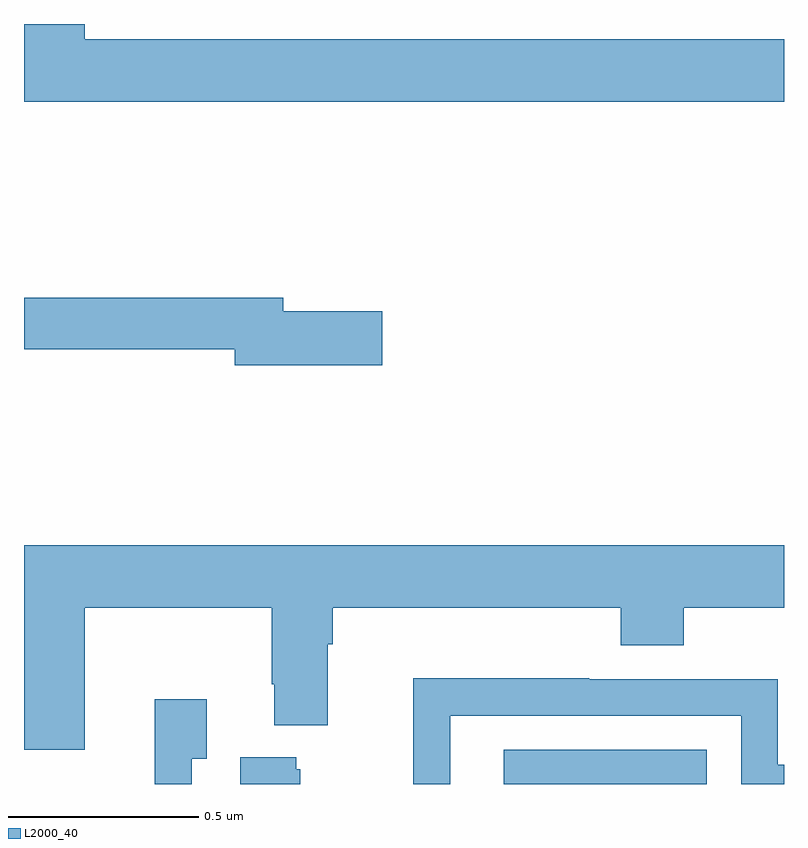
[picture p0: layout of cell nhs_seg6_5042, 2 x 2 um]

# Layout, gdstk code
import gdstk
lib = gdstk.Library(unit=1e-6, precision=1e-09)
def R(c, l, rs):  # rectangles x0, y0, x1, y1
    for r in rs: c.add(gdstk.rectangle(r[:2], r[2:], *l))
def P(c, l, *ps):  # polygons
    for p in ps: c.add(gdstk.Polygon(p, *l))
L2000_40 = (2000, 40)

nhs_seg6_5042 = lib.new_cell('nhs_seg6_5042')
R(nhs_seg6_5042, L2000_40, [(178.263,985.5,178.797,985.59)])
P(nhs_seg6_5042, L2000_40, [(179,987.46),(177.16,987.46),(177.16,987.5),(177,987.5),(177,987.296),(179,987.296)],
  [(177.943,986.744),(177.682,986.744),(177.682,986.78),(177,986.78),(177,986.644),(177.554,986.644),(177.554,986.602),(177.943,986.602)],
  [(177.16,985.964),(177.652,985.964),(177.652,985.762),(177.659,985.762),(177.659,985.655),(177.799,985.655),(177.799,985.868),(177.812,985.868),(177.812,985.964),(178.571,985.964),(178.571,985.865),(178.736,985.865),(178.736,985.964),(179,985.964),(179,986.128),(177,986.128),(177,985.59),(177.16,985.59)],
  [(178.122,985.68),(178.887,985.68),(178.887,985.5),(179,985.5),(179,985.551),(178.983,985.551),(178.983,985.776),(178.487,985.776),(178.487,985.778),(178.024,985.778),(178.024,985.5),(178.122,985.5)],
  [(177.441,985.567),(177.481,985.567),(177.481,985.723),(177.344,985.723),(177.344,985.5),(177.441,985.5)],
  [(177.727,985.539),(177.716,985.539),(177.716,985.57),(177.569,985.57),(177.569,985.5),(177.727,985.5)])

lib.write_gds('nhs_seg6_5042.gds')
